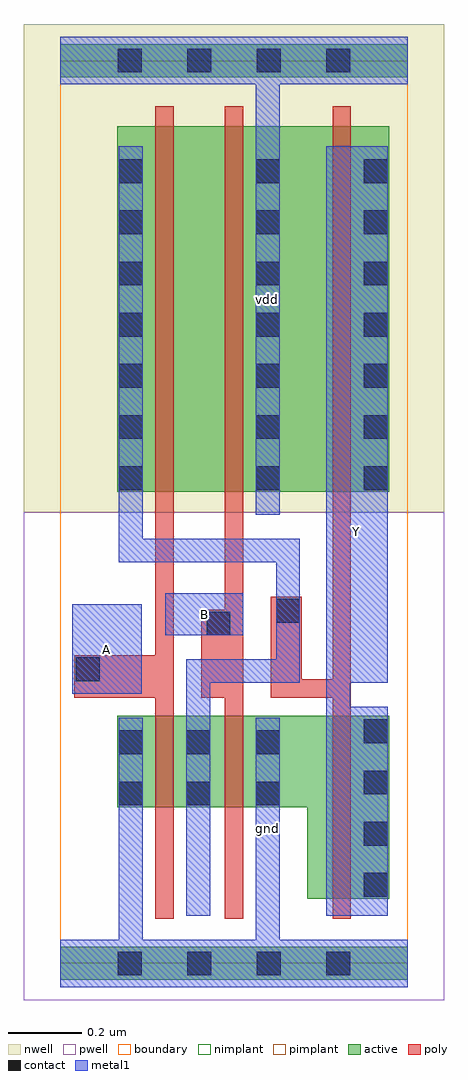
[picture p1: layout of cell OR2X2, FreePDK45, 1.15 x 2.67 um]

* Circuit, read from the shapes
.subckt OR2X2 A B Y gnd vdd
M1 n1 A gnd gnd nfet w=0.25u l=0.05u
M2 gnd B n1 gnd nfet w=0.25u l=0.05u
M3 Y n1 gnd gnd nfet w=0.5u l=0.05u
M4 n2 A n1 vdd pfet w=1u l=0.05u
M5 vdd B n2 vdd pfet w=1u l=0.05u
M6 Y n1 vdd vdd pfet w=1u l=0.05u
.ends

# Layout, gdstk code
import gdstk
lib = gdstk.Library(unit=1e-6, precision=5e-10)
def R(c, l, rs):  # rectangles x0, y0, x1, y1
    for r in rs: c.add(gdstk.rectangle(r[:2], r[2:], *l))
def A(c, l, x, y, w, h, nx, ny, dx, dy):  # array of equal rectangles
    R(c, l, [(x+i*dx, y+j*dy, x+i*dx+w, y+j*dy+h) for i in range(nx) for j in range(ny)])
def P(c, l, *ps):  # polygons
    for p in ps: c.add(gdstk.Polygon(p, *l))
active = (1, 0)
pwell = (2, 0)
nwell = (3, 0)
nimplant = (4, 0)
pimplant = (5, 0)
poly = (9, 0)
contact = (10, 0)
metal1 = (11, 0)
boundary = (235, 0)

or2x2 = lib.new_cell('OR2X2')
R(or2x2, active, [(0,-0.045,0.95,0.045), (0.745,0.1775,0.795,0.6775), (0.795,0.1775,0.9,0.6775), (0.155,0.4275,0.26,0.6775), (0.26,0.4275,0.31,0.6775), (0.31,0.4275,0.45,0.6775), (0.45,0.4275,0.5,0.6775), (0.155,1.29,0.26,2.29), (0.26,1.29,0.31,2.29), (0.31,1.29,0.45,2.29), (0.45,1.29,0.5,2.29), (0.5,1.29,0.745,2.29), (0.745,1.29,0.795,2.29), (0.795,1.29,0.9,2.29), (0,2.425,0.95,2.515)])
P(or2x2, active, [(0.745,0.6775),(0.745,0.1775),(0.675,0.1775),(0.675,0.4275),(0.5,0.4275),(0.5,0.6775)])
R(or2x2, pwell, [(-0.1,-0.1,1.05,1.235)])
R(or2x2, nwell, [(-0.1,1.235,1.05,2.57)])
R(or2x2, nimplant, [(0.745,0.1775,0.795,0.6775), (0.795,0.1775,0.9,0.6775), (0.155,0.4275,0.26,0.6775), (0.26,0.4275,0.31,0.6775), (0.31,0.4275,0.45,0.6775), (0.45,0.4275,0.5,0.6775), (0,2.425,0.95,2.515)])
P(or2x2, nimplant, [(0.745,0.6775),(0.745,0.1775),(0.675,0.1775),(0.675,0.4275),(0.5,0.4275),(0.5,0.6775)])
R(or2x2, pimplant, [(0,-0.045,0.95,0.045), (0.155,1.29,0.26,2.29), (0.26,1.29,0.31,2.29), (0.31,1.29,0.45,2.29), (0.45,1.29,0.5,2.29), (0.5,1.29,0.745,2.29), (0.745,1.29,0.795,2.29), (0.795,1.29,0.9,2.29)])
R(or2x2, poly, [(0.26,0.1225,0.31,0.4275), (0.45,0.1225,0.5,0.4275), (0.745,0.1225,0.795,0.1775), (0.745,0.1775,0.795,0.6775), (0.26,0.4275,0.31,0.6775), (0.45,0.4275,0.5,0.6775), (0.26,1.29,0.31,2.29), (0.45,1.29,0.5,2.29), (0.745,1.29,0.795,2.29), (0.26,2.29,0.31,2.345), (0.45,2.29,0.5,2.345), (0.745,2.29,0.795,2.345)])
P(or2x2, poly, [(0.745,0.7275),(0.575,0.7275),(0.575,1.0025),(0.66,1.0025),(0.66,0.7775),(0.745,0.7775),(0.745,1.29),(0.795,1.29),(0.795,0.6775),(0.745,0.6775)],
  [(0.45,0.7275),(0.385,0.7275),(0.385,0.9675),(0.45,0.9675),(0.45,1.29),(0.5,1.29),(0.5,0.6775),(0.45,0.6775)],
  [(0.26,0.7275),(0.0375,0.7275),(0.0375,0.8425),(0.26,0.8425),(0.26,1.29),(0.31,1.29),(0.31,0.6775),(0.26,0.6775)])
A(or2x2, contact, 0.1575, -0.0325, 0.065, 0.065, 4, 2, 0.19, 2.47)
A(or2x2, contact, 0.83, 0.1825, 0.065, 0.065, 1, 4, 0, 0.14)
A(or2x2, contact, 0.16, 1.295, 0.065, 0.065, 1, 7, 0, 0.14)
A(or2x2, contact, 0.535, 1.295, 0.065, 0.065, 1, 7, 0, 0.14)
A(or2x2, contact, 0.83, 1.295, 0.065, 0.065, 1, 7, 0, 0.14)
R(or2x2, contact, [(0.16,0.4325,0.225,0.4975), (0.345,0.4325,0.41,0.4975), (0.535,0.4325,0.6,0.4975), (0.16,0.5725,0.225,0.6375), (0.345,0.5725,0.41,0.6375), (0.535,0.5725,0.6,0.6375), (0.0425,0.7725,0.1075,0.8375), (0.4,0.8975,0.465,0.9625), (0.59,0.9325,0.655,0.9975)])
R(or2x2, metal1, [(0.0325,0.7375,0.2225,0.9825), (0.2875,0.8975,0.5,1.0125)])
P(or2x2, metal1, [(0.7275,2.235),(0.895,2.235),(0.895,0.7675),(0.7925,0.7675),(0.7925,0.7025),(0.895,0.7025),(0.895,0.13),(0.7275,0.13)],
  [(0.59,0.8325),(0.59,1.0975),(0.16,1.0975),(0.16,2.235),(0.225,2.235),(0.225,1.1625),(0.655,1.1625),(0.655,0.7675),(0.41,0.7675),(0.41,0.13),(0.345,0.13),(0.345,0.8325)],
  [(0.16,0.065),(0.16,0.6725),(0.225,0.6725),(0.225,0.065),(0.535,0.065),(0.535,0.6725),(0.6,0.6725),(0.6,0.065),(0.95,0.065),(0.95,-0.065),(0,-0.065),(0,0.065)],
  [(0,2.405),(0,2.535),(0.95,2.535),(0.95,2.405),(0.6,2.405),(0.6,1.2275),(0.535,1.2275),(0.535,2.405)])
R(or2x2, boundary, [(0,0,0.95,2.47)])
or2x2.add(gdstk.Label('Y', (0.81,1.1825), layer=11, texttype=237))
or2x2.add(gdstk.Label('B', (0.395,0.955), layer=11, texttype=237))
or2x2.add(gdstk.Label('A', (0.1275,0.86), layer=11, texttype=237))
or2x2.add(gdstk.Label('gnd', (0.5675,0.37), layer=11, texttype=237))
or2x2.add(gdstk.Label('vdd', (0.5675,1.815), layer=11, texttype=237))

lib.write_gds('OR2X2.gds')
